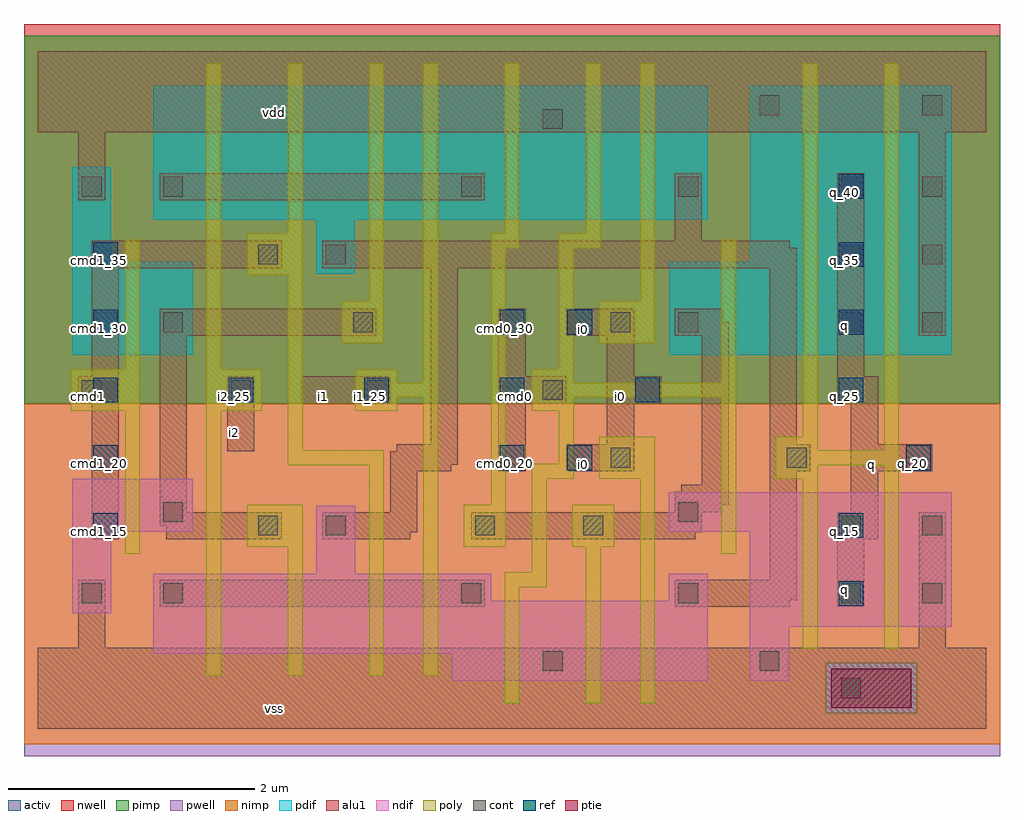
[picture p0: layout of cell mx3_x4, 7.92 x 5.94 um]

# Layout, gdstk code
import gdstk
lib = gdstk.Library(unit=1e-6, precision=2.5e-09)
def R(c, l, rs):  # rectangles x0, y0, x1, y1
    for r in rs: c.add(gdstk.rectangle(r[:2], r[2:], *l))
def A(c, l, x, y, w, h, nx, ny, dx, dy):  # array of equal rectangles
    R(c, l, [(x+i*dx, y+j*dy, x+i*dx+w, y+j*dy+h) for i in range(nx) for j in range(ny)])
ndif = (3, 0)
pdif = (4, 0)
ptie = (6, 0)
ref = (24, 0)
cont = (25, 0)
pwell = (41, 0)
nwell = (42, 0)
activ = (43, 0)
pimp = (44, 0)
nimp = (45, 0)
poly = (46, 0)
alu1 = (49, 0)

mx3_x4 = lib.new_cell('mx3_x4')
R(mx3_x4, ndif, [(3.36,0.39,5.44,0.61), (3.36,0.39,5.44,0.61), (5.78,0.39,6.1,0.83), (5.78,0.39,6.1,0.83), (0.94,0.61,5.44,1.04), (0.94,0.61,5.44,1.04), (5.78,0.83,7.42,1.6), (5.78,0.83,7.42,1.6), (0.28,0.94,0.6,1.6), (0.28,0.94,0.6,1.6), (0.94,1.04,3.68,1.26), (0.94,1.04,3.68,1.26), (5.12,1.04,5.44,1.26), (5.12,1.04,5.44,1.26), (2.26,1.26,2.58,1.81), (2.26,1.26,2.58,1.81), (0.28,1.6,1.26,2.03), (0.28,1.6,1.26,2.03), (5.12,1.6,7.42,1.92), (5.12,1.6,7.42,1.92)])
R(mx3_x4, pdif, [(0.28,3.03,1.26,3.79), (0.28,3.03,1.26,3.79), (5.12,3.03,7.42,3.79), (5.12,3.03,7.42,3.79), (2.26,3.69,2.58,4.13), (2.26,3.69,2.58,4.13), (0.28,3.79,0.6,4.56), (0.28,3.79,0.6,4.56), (5.78,3.79,7.42,5.22), (5.78,3.79,7.42,5.22), (0.94,4.13,5.44,5.22), (0.94,4.13,5.44,5.22)])
R(mx3_x4, ptie, [(6.44,0.17,7.09,0.49), (6.44,0.17,7.09,0.49)])
A(mx3_x4, ref, 0.45, 2.65, 0.2, 0.2, 5, 1, 1.1, 0)
A(mx3_x4, ref, 6.5, 2.65, 0.2, 0.2, 1, 4, 0, 0.55)
R(mx3_x4, ref, [(6.5,1,6.7,1.2), (0.45,1.55,0.65,1.75), (6.5,1.55,6.7,1.75), (0.45,2.1,0.65,2.3), (3.75,2.1,3.95,2.3), (4.3,2.1,4.5,2.3), (7.05,2.1,7.25,2.3), (0.45,3.2,0.65,3.4), (3.75,3.2,3.95,3.4), (4.3,3.2,4.5,3.4), (0.45,3.75,0.65,3.95)])
A(mx3_x4, cont, 4.1, 0.47, 0.16, 0.16, 1, 3, 0, 2.2)
A(mx3_x4, cont, 0.36, 1.02, 0.16, 0.16, 1, 3, 0, 1.65)
A(mx3_x4, cont, 6.52, 3.22, 0.16, 0.16, 1, 3, 0, 0.55)
A(mx3_x4, cont, 7.18, 3.22, 0.16, 0.16, 1, 3, 0, 0.55)
R(mx3_x4, cont, [(6.52,0.25,6.68,0.41), (5.86,0.47,6.02,0.63), (1.02,1.02,1.18,1.18), (3.44,1.02,3.6,1.18), (5.2,1.02,5.36,1.18), (6.52,1.02,6.68,1.18), (7.18,1.02,7.34,1.18), (1.79,1.57,1.95,1.73), (2.34,1.57,2.5,1.73), (3.55,1.57,3.71,1.73), (4.43,1.57,4.59,1.73), (6.52,1.57,6.68,1.73), (7.18,1.57,7.34,1.73), (1.02,1.68,1.18,1.84), (5.2,1.68,5.36,1.84), (4.65,2.12,4.81,2.28), (6.08,2.12,6.24,2.28), (1.57,2.67,1.73,2.83), (2.67,2.67,2.83,2.83), (1.02,3.22,1.18,3.38), (2.56,3.22,2.72,3.38), (4.65,3.22,4.81,3.38), (5.2,3.22,5.36,3.38), (1.79,3.77,1.95,3.93), (2.34,3.77,2.5,3.93), (1.02,4.32,1.18,4.48), (3.44,4.32,3.6,4.48), (5.2,4.32,5.36,4.48), (5.86,4.98,6.02,5.14), (7.18,4.98,7.34,5.14)])
R(mx3_x4, pwell, [(-0.11,-0.22,7.81,2.64)])
R(mx3_x4, nwell, [(-0.11,2.64,7.81,5.72)])
R(mx3_x4, activ, [(6.44,0.17,7.09,0.49), (6.44,0.17,7.09,0.49), (3.36,0.39,5.44,0.61), (3.36,0.39,5.44,0.61), (5.78,0.39,6.1,0.83), (5.78,0.39,6.1,0.83), (0.94,0.61,5.44,1.04), (0.94,0.61,5.44,1.04), (5.78,0.83,7.42,1.6), (5.78,0.83,7.42,1.6), (0.28,0.94,0.6,1.6), (0.28,0.94,0.6,1.6), (0.94,1.04,3.68,1.26), (0.94,1.04,3.68,1.26), (5.12,1.04,5.44,1.26), (5.12,1.04,5.44,1.26), (2.26,1.26,2.58,1.81), (2.26,1.26,2.58,1.81), (0.28,1.6,1.26,2.03), (0.28,1.6,1.26,2.03), (5.12,1.6,7.42,1.92), (5.12,1.6,7.42,1.92), (0.28,3.03,1.26,3.79), (0.28,3.03,1.26,3.79), (5.12,3.03,7.42,3.79), (5.12,3.03,7.42,3.79), (2.26,3.69,2.58,4.13), (2.26,3.69,2.58,4.13), (0.28,3.79,0.6,4.56), (0.28,3.79,0.6,4.56), (5.78,3.79,7.42,5.22), (5.78,3.79,7.42,5.22), (0.94,4.13,5.44,5.22), (0.94,4.13,5.44,5.22)])
R(mx3_x4, pimp, [(6.395,0.125,7.135,0.535), (-0.11,2.64,7.81,5.625)])
R(mx3_x4, nimp, [(-0.11,-0.125,7.81,0.125), (-0.11,0.125,6.395,0.535), (7.135,0.125,7.81,0.535), (-0.11,0.535,7.81,2.64)])
R(mx3_x4, poly, [(3.79,0.21,3.91,1.15), (4.45,0.21,4.57,1.48), (4.89,0.21,5.01,2.03), (1.37,0.43,1.49,2.58), (2.03,0.43,2.15,1.48), (2.69,0.43,2.81,2.14), (3.13,0.43,3.25,2.69), (6.21,0.65,6.33,2.03), (6.87,0.65,6.99,2.14), (3.79,1.15,4.13,1.27), (4.01,1.27,4.13,2.03), (0.71,1.42,0.83,2.58), (5.55,1.42,5.67,2.69), (1.7,1.48,2.15,1.82), (3.46,1.48,3.8,1.82), (4.34,1.48,4.68,1.82), (3.68,1.82,3.8,3.9), (4.01,2.03,4.35,2.15), (4.56,2.03,5.01,2.37), (5.99,2.03,6.33,2.14), (2.03,2.14,2.81,2.26), (5.99,2.14,6.99,2.26), (4.23,2.15,4.35,2.58), (2.03,2.26,2.15,3.68), (5.99,2.26,6.33,2.37), (6.87,2.26,6.99,5.4), (6.21,2.37,6.33,5.4), (0.27,2.58,0.83,2.92), (1.37,2.58,1.82,2.92), (2.58,2.58,2.92,2.69), (4.01,2.58,4.35,2.69), (2.58,2.69,3.25,2.81), (4.01,2.69,5.67,2.81), (2.58,2.81,2.92,2.92), (3.13,2.81,3.25,5.4), (4.01,2.81,4.35,2.92), (5.55,2.81,5.67,3.97), (0.71,2.92,0.83,3.97), (1.37,2.92,1.49,5.4), (4.23,2.92,4.35,3.9), (2.47,3.13,2.81,3.47), (4.56,3.13,5.01,3.47), (2.69,3.47,2.81,5.4), (4.89,3.47,5.01,5.4), (1.7,3.68,2.15,4.02), (3.68,3.9,3.91,4.02), (4.23,3.9,4.57,4.02), (2.03,4.02,2.15,5.4), (3.79,4.02,3.91,5.4), (4.45,4.02,4.57,5.4)])
R(mx3_x4, alu1, [(0,0,7.7,0.66), (0.33,0.66,0.55,1.21), (7.15,0.66,7.37,1.76), (0.99,0.99,3.63,1.21), (5.17,0.99,6.105,1.045), (6.49,0.99,6.71,1.54), (5.17,1.045,6.16,1.21), (5.94,1.21,6.16,2.09), (0.44,1.54,0.66,2.64), (1.045,1.54,1.98,1.65), (2.31,1.54,3.025,1.595), (3.52,1.54,5.335,1.595), (6.49,1.54,6.82,1.76), (2.31,1.595,3.08,1.76), (3.52,1.595,5.39,1.76), (0.99,1.65,1.98,1.76), (0.99,1.76,1.21,3.19), (2.86,1.76,3.08,2.09), (5.17,1.76,5.555,1.815), (6.6,1.76,6.82,2.09), (5.17,1.815,5.61,1.925), (5.225,1.925,5.61,1.98), (5.39,1.98,5.61,3.19), (2.86,2.09,3.355,2.145), (3.74,2.09,3.96,2.64), (4.29,2.09,4.84,2.31), (5.94,2.09,6.27,2.31), (6.6,2.09,7.26,2.31), (2.86,2.145,3.41,2.255), (1.54,2.255,1.76,2.86), (2.915,2.255,3.41,2.31), (3.19,2.31,3.41,3.74), (4.62,2.31,4.84,2.64), (5.94,2.31,6.16,3.74), (6.6,2.31,6.82,2.64), (0.33,2.64,0.66,2.86), (2.145,2.64,2.86,2.86), (3.74,2.64,4.29,2.86), (4.62,2.64,5.06,2.86), (6.49,2.64,6.82,2.86), (0.44,2.86,0.66,3.74), (3.74,2.86,3.96,3.41), (4.62,2.86,4.84,3.19), (6.49,2.86,6.71,4.51), (0.99,3.19,2.75,3.41), (4.29,3.19,4.84,3.41), (5.17,3.19,5.61,3.3), (7.15,3.19,7.37,4.84), (5.17,3.3,5.555,3.41), (0.44,3.74,1.98,3.96), (2.31,3.74,6.16,3.905), (2.31,3.905,6.105,3.96), (5.17,3.96,5.39,4.51), (0.33,4.29,0.55,4.84), (0.99,4.29,3.63,4.51), (0,4.84,7.7,5.5)])
mx3_x4.add(gdstk.Label('vss', (1.925,0.165), layer=49, texttype=0))
mx3_x4.add(gdstk.Label('q', (6.545,1.1275), layer=49, texttype=0))
mx3_x4.add(gdstk.Label('q', (6.765,2.145), layer=49, texttype=0))
mx3_x4.add(gdstk.Label('q', (6.545,3.2725), layer=49, texttype=0))
mx3_x4.add(gdstk.Label('i0', (4.4275,2.145), layer=49, texttype=0))
mx3_x4.add(gdstk.Label('i0', (4.73,2.695), layer=49, texttype=0))
mx3_x4.add(gdstk.Label('cmd0', (3.8775,2.695), layer=49, texttype=0))
mx3_x4.add(gdstk.Label('i0', (4.4275,3.245), layer=49, texttype=0))
mx3_x4.add(gdstk.Label('i1', (2.3225,2.695), layer=49, texttype=0))
mx3_x4.add(gdstk.Label('i2', (1.595,2.405), layer=49, texttype=0))
mx3_x4.add(gdstk.Label('cmd1', (0.4125,2.695), layer=49, texttype=0))
mx3_x4.add(gdstk.Label('vdd', (1.925,5.005), layer=49, texttype=0))
mx3_x4.add(gdstk.Label('q_40', (6.55,4.35), layer=24, texttype=0))
mx3_x4.add(gdstk.Label('q_35', (6.55,3.8), layer=24, texttype=0))
mx3_x4.add(gdstk.Label('q_30', (6.55,3.25), layer=24, texttype=0))
mx3_x4.add(gdstk.Label('q_25', (6.55,2.7), layer=24, texttype=0))
mx3_x4.add(gdstk.Label('q_15', (6.55,1.6), layer=24, texttype=0))
mx3_x4.add(gdstk.Label('q_10', (6.55,1.05), layer=24, texttype=0))
mx3_x4.add(gdstk.Label('i0_25', (4.9,2.7), layer=24, texttype=0))
mx3_x4.add(gdstk.Label('i0_30', (4.35,3.25), layer=24, texttype=0))
mx3_x4.add(gdstk.Label('i0_20', (4.35,2.15), layer=24, texttype=0))
mx3_x4.add(gdstk.Label('cmd0_30', (3.8,3.25), layer=24, texttype=0))
mx3_x4.add(gdstk.Label('cmd0_25', (3.8,2.7), layer=24, texttype=0))
mx3_x4.add(gdstk.Label('cmd0_20', (3.8,2.15), layer=24, texttype=0))
mx3_x4.add(gdstk.Label('i1_25', (2.7,2.7), layer=24, texttype=0))
mx3_x4.add(gdstk.Label('i2_25', (1.6,2.7), layer=24, texttype=0))
mx3_x4.add(gdstk.Label('cmd1_35', (0.5,3.8), layer=24, texttype=0))
mx3_x4.add(gdstk.Label('cmd1_30', (0.5,3.25), layer=24, texttype=0))
mx3_x4.add(gdstk.Label('cmd1_25', (0.5,2.7), layer=24, texttype=0))
mx3_x4.add(gdstk.Label('cmd1_20', (0.5,2.15), layer=24, texttype=0))
mx3_x4.add(gdstk.Label('cmd1_15', (0.5,1.6), layer=24, texttype=0))
mx3_x4.add(gdstk.Label('q_20', (7.1,2.15), layer=24, texttype=0))

lib.write_gds('mx3_x4.gds')
